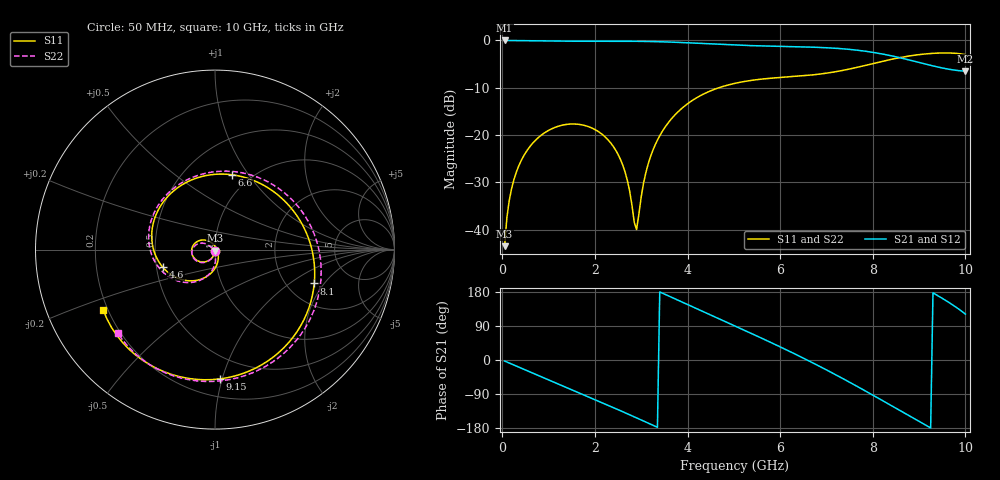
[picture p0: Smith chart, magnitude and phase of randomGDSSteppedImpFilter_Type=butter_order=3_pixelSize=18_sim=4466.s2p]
! freq	dB(S11)	phase(S11)	dB(S12)	phase(S12)
!  dB(S21)	phase(S21)	dB(S22)	phase(S22)
!S-par simulation data
#  GHz  S  DB  R 50
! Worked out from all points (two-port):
!   200 points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, 50 MHz to 10 GHz, reference 50 ohm
!   highest |S21| = 0.00 dB at 50 MHz (marker M1); lowest = -6.5 dB at 10 GHz (marker M2)
!   |S21| within 3 dB of the highest: start of sweep to 8.279 GHz
!   lowest |S11| = -43.5 dB at 50 MHz (marker M3), VSWR 1.01, Z = 50 - j0.668 ohm
!   |S11| at or under -10 dB: start of sweep to 4.678 GHz
!   |S22| runs from -43.5 to -2.6 dB; largest |S21 - S12| = 0
!   S11 on the Smith chart (normalised r, x): 50 MHz: 1.00, -0.01; 4.6 GHz: 0.54, -0.12; 6.6 GHz: 0.82, +0.84; 8.1 GHz: 2.80, -1.60; 9.15 GHz: 0.33, -0.98; 10 GHz: 0.18, -0.24
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0.05  -43.50 -90.9  -0.00 -2.7  -0.00 -2.7  -43.50 -91.1
0.2  -31.37 -100.6  -0.02 -10.6  -0.02 -10.6  -31.36 -100.0
0.5  -23.79 -117.6  -0.06 -26.3  -0.06 -26.3  -23.79 -116.1
1.15  -18.34 -152.9  -0.14 -60.2  -0.14 -60.2  -18.34 -148.9
1.75  -17.91 174.2  -0.18 -91.3  -0.18 -91.3  -17.92 -178.6
2.5  -24.10 128.4  -0.17 -131.0  -0.17 -131.0  -24.15 148.0
2.7  -29.56 109.3  -0.17 -141.8  -0.17 -141.8  -29.66 146.0
2.9  -39.97 13.9  -0.19 -152.7  -0.19 -152.7  -39.62 -138.4
3.1  -27.94 -62.6  -0.21 -163.7  -0.21 -163.7  -27.80 -86.6
3.4  -20.15 -88.0  -0.27 179.6  -0.27 179.6  -20.08 -94.1
3.95  -13.76 -122.7  -0.47 149.0  -0.47 149.0  -13.72 -120.3
4.6  -10.27 -161.2  -0.78 113.1  -0.78 113.1  -10.23 -153.4
5.05  -9.01 172.4  -0.98 88.3  -0.98 88.3  -8.98 -176.4
5.95  -7.87 118.1  -1.24 37.6  -1.24 37.6  -7.86 136.5
6.6  -7.38 77.2  -1.39 -1.1  -1.39 -1.1  -7.40 99.5
6.7  -7.28 70.9  -1.42 -7.2  -1.42 -7.2  -7.31 93.5
7.45  -6.14 23.0  -1.85 -55.4  -1.85 -55.4  -6.19 44.7
8.1  -4.67 -18.8  -2.68 -99.5  -2.68 -99.5  -4.70 -1.6
8.35  -4.10 -35.1  -3.14 -116.8  -3.14 -116.8  -4.13 -19.7
9.15  -2.84 -87.9  -5.02 -172.2  -5.02 -172.2  -2.83 -76.7
9.6  -2.65 -119.4  -6.01 155.2  -6.01 155.2  -2.61 -108.6
10  -3.00 -151.8  -6.49 121.1  -6.49 121.1  -2.92 -139.3
